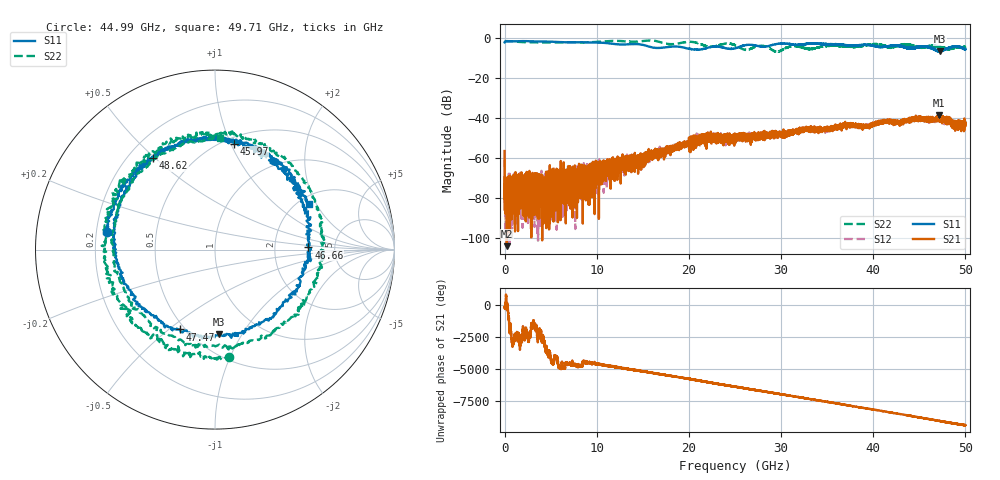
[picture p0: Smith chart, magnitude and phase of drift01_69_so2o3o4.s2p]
!Created with skrf (http://scikit-rf.org).
# Hz S RI R 50.0
!freq ReS11 ImS11 ReS21 ImS21 ReS12 ImS12 ReS22 ImS22
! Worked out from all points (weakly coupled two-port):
!   10001 points, 300 kHz to 50 GHz, reference 50 ohm
!   highest |S21| = -38.32 dB at 47.13 GHz (marker M1); lowest = -104.2 dB at 245.3 MHz (marker M2)
!   lowest |S11| = -6.5 dB at 47.28 GHz (marker M3), VSWR 2.78, Z = 33.1 - j40 ohm
!   |S11| at or under -10 dB: nowhere
!   |S22| runs from -6.8 to -1.0 dB; largest |S21 - S12| = 0.0036
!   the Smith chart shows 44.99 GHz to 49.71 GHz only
!   S11 on the Smith chart (normalised r, x): 44.99 GHz: 0.24, +0.08; 45.97 GHz: 0.56, +1.03; 46.66 GHz: 3.17, +0.10; 47.47 GHz: 0.47, -0.55; 48.62 GHz: 0.30, +0.49; 49.71 GHz: 2.26, +1.73
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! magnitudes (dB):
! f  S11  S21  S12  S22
! 300 kHz  -2.1  -56.5  -60.6  -1.3
! 245.3 MHz  -1.4  -104.2  -73.8  -1.4
! 5.055 GHz  -1.6  -89.5  -81.5  -2.1
! 8.335 GHz  -1.9  -64.8  -68.7  -2.1
! 16.67 GHz  -4.8  -55.7  -57.7  -1.6
! 21.64 GHz  -5.2  -49.4  -51.9  -3.4
! 25 GHz  -5.0  -50.6  -49.7  -3.4
! 26.19 GHz  -3.4  -49.6  -49.3  -5.7
! 28.08 GHz  -4.2  -49.4  -48.9  -3.9
! 29.53 GHz  -2.8  -47.6  -48.3  -6.7
! 31.27 GHz  -2.9  -46.7  -47.7  -4.0
! 33.34 GHz  -2.6  -44.8  -46.2  -5.4
! 41.67 GHz  -3.9  -41.6  -41.7  -4.4
! 44.99 GHz  -4.3  -40.1  -40.9  -4.4
! 45.97 GHz  -4.5  -40.3  -41.1  -3.9
! 46.66 GHz  -5.7  -40.6  -40.3  -3.8
! 47.13 GHz  -6.4  -38.3  -40.2  -4.2
! 47.28 GHz  -6.5  -39.4  -41.3  -4.2
! 47.47 GHz  -6.3  -40.2  -40.1  -4.4
! 48.62 GHz  -4.2  -41.3  -42.3  -5.1
! 49.71 GHz  -4.7  -42.4  -43.4  -4.2
! 50 GHz  -5.5  -42.5  -44.4  -4.2
